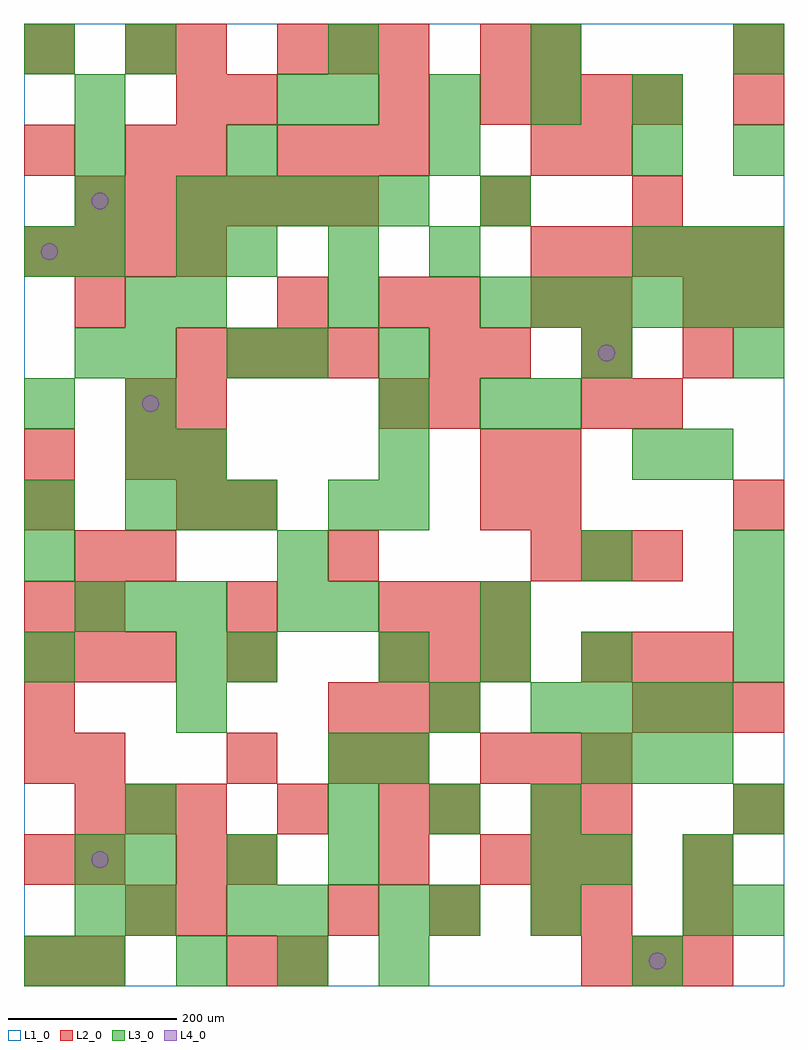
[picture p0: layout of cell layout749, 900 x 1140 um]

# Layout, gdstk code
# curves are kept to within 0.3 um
import gdstk
lib = gdstk.Library(unit=1e-6, precision=1e-09)
def R(c, l, rs):  # rectangles x0, y0, x1, y1
    for r in rs: c.add(gdstk.rectangle(r[:2], r[2:], *l))
def A(c, l, x, y, w, h, nx, ny, dx, dy):  # array of equal rectangles
    R(c, l, [(x+i*dx, y+j*dy, x+i*dx+w, y+j*dy+h) for i in range(nx) for j in range(ny)])
def P(c, l, *ps):  # polygons
    for p in ps: c.add(gdstk.Polygon(p, *l))
L1_0 = (1, 0)
L2_0 = (2, 0)
L3_0 = (3, 0)
L4_0 = (4, 0)

layout749 = lib.new_cell('layout749')
R(layout749, L1_0, [(0,0,900,1140)])
A(layout749, L2_0, 0, 0, 60, 60, 1, 3, 0, 120)
A(layout749, L2_0, 60, 0, 60, 60, 1, 3, 0, 120)
A(layout749, L2_0, 240, 0, 60, 60, 1, 4, 0, 120)
A(layout749, L2_0, 660, 0, 60, 60, 3, 2, 60, 360)
A(layout749, L2_0, 360, 60, 60, 60, 3, 1, 120, 0)
A(layout749, L2_0, 420, 120, 60, 60, 1, 3, 0, 60)
A(layout749, L2_0, 540, 120, 60, 60, 3, 2, 60, 120)
A(layout749, L2_0, 60, 180, 60, 60, 3, 1, 60, 0)
A(layout749, L2_0, 480, 180, 60, 60, 1, 3, 0, 240)
A(layout749, L2_0, 0, 300, 60, 60, 1, 3, 0, 120)
A(layout749, L2_0, 360, 300, 60, 60, 3, 1, 60, 0)
A(layout749, L2_0, 720, 300, 60, 60, 3, 1, 60, 0)
A(layout749, L2_0, 0, 360, 60, 60, 3, 1, 60, 0)
A(layout749, L2_0, 420, 360, 60, 60, 3, 1, 60, 0)
A(layout749, L2_0, 60, 420, 60, 60, 3, 1, 180, 0)
A(layout749, L2_0, 120, 480, 60, 60, 3, 1, 240, 0)
A(layout749, L2_0, 180, 540, 60, 60, 1, 3, 0, 60)
A(layout749, L2_0, 840, 540, 60, 60, 1, 3, 0, 240)
A(layout749, L2_0, 600, 600, 60, 60, 1, 3, 0, 180)
A(layout749, L2_0, 180, 720, 60, 60, 4, 1, 60, 0)
A(layout749, L2_0, 540, 720, 60, 60, 3, 1, 120, 0)
A(layout749, L2_0, 0, 840, 60, 60, 4, 1, 60, 0)
A(layout749, L2_0, 600, 840, 60, 60, 5, 1, 60, 0)
A(layout749, L2_0, 60, 900, 60, 60, 6, 1, 60, 0)
A(layout749, L2_0, 180, 960, 60, 60, 1, 3, 0, 60)
A(layout749, L2_0, 300, 960, 60, 60, 3, 2, 60, 120)
A(layout749, L2_0, 540, 1020, 60, 60, 4, 1, 60, 0)
R(layout749, L2_0, [(300,0,360,60), (120,60,180,120), (180,60,240,120), (660,60,720,120), (780,60,840,120), (180,120,240,180), (780,120,840,180), (300,180,360,240), (600,180,660,240), (660,180,720,240), (840,180,900,240), (360,240,420,300), (540,420,600,480), (60,480,120,540), (660,480,720,540), (720,480,780,540), (240,540,300,600), (540,540,600,600), (600,540,660,600), (0,600,60,660), (120,600,180,660), (540,600,600,660), (120,660,180,720), (420,660,480,720), (660,660,720,720), (720,660,780,720), (480,720,540,780), (60,780,120,840), (300,780,360,840), (420,780,480,840), (480,780,540,840), (660,780,720,840), (780,780,840,840), (540,900,600,960), (720,900,780,960), (0,960,60,1020), (120,960,180,1020), (660,960,720,1020), (240,1020,300,1080), (420,1020,480,1080), (0,1080,60,1140), (120,1080,180,1140), (540,1080,600,1140), (600,1080,660,1140), (840,1080,900,1140)])
A(layout749, L3_0, 60, 0, 60, 60, 4, 1, 120, 0)
A(layout749, L3_0, 120, 120, 60, 60, 3, 1, 120, 0)
A(layout749, L3_0, 360, 180, 60, 60, 3, 1, 120, 0)
A(layout749, L3_0, 660, 240, 60, 60, 3, 1, 60, 0)
A(layout749, L3_0, 600, 300, 60, 60, 4, 1, 60, 0)
A(layout749, L3_0, 180, 360, 60, 60, 1, 3, 0, 240)
A(layout749, L3_0, 420, 360, 60, 60, 3, 1, 120, 0)
A(layout749, L3_0, 840, 360, 60, 60, 1, 3, 0, 60)
A(layout749, L3_0, 60, 420, 60, 60, 3, 1, 60, 0)
A(layout749, L3_0, 540, 420, 60, 60, 1, 3, 0, 240)
A(layout749, L3_0, 120, 540, 60, 60, 3, 1, 60, 0)
A(layout749, L3_0, 420, 540, 60, 60, 1, 4, 0, 60)
A(layout749, L3_0, 120, 600, 60, 60, 1, 4, 0, 60)
A(layout749, L3_0, 180, 780, 60, 60, 3, 1, 180, 0)
A(layout749, L3_0, 600, 780, 60, 60, 5, 1, 60, 0)
A(layout749, L3_0, 60, 840, 60, 60, 1, 4, 0, 60)
A(layout749, L3_0, 240, 840, 60, 60, 3, 1, 120, 0)
A(layout749, L3_0, 720, 840, 60, 60, 3, 1, 60, 0)
A(layout749, L3_0, 180, 900, 60, 60, 5, 1, 60, 0)
A(layout749, L3_0, 240, 960, 60, 60, 3, 1, 240, 0)
A(layout749, L3_0, 360, 1020, 60, 60, 4, 1, 120, 0)
A(layout749, L3_0, 120, 1080, 60, 60, 4, 1, 240, 0)
R(layout749, L3_0, [(0,0,60,60), (720,0,780,60), (60,60,120,120), (120,60,180,120), (240,60,300,120), (300,60,360,120), (420,60,480,120), (480,60,540,120), (600,60,660,120), (780,60,840,120), (840,60,900,120), (60,120,120,180), (600,120,660,180), (660,120,720,180), (780,120,840,180), (120,180,180,240), (840,180,900,240), (360,240,420,300), (420,240,480,300), (180,300,240,360), (480,300,540,360), (0,360,60,420), (240,360,300,420), (300,420,360,480), (360,420,420,480), (0,480,60,540), (300,480,360,540), (660,480,720,540), (0,540,60,600), (360,540,420,600), (720,600,780,660), (780,600,840,660), (0,660,60,720), (600,660,660,720), (60,720,120,780), (240,720,300,780), (300,720,360,780), (660,720,720,780), (840,720,900,780), (0,840,60,900), (840,960,900,1020), (300,1020,360,1080), (0,1080,60,1140)])
P(layout749, L4_0, [(40,870),(39.239,873.827),(37.071,877.071),(33.827,879.239),(30,880),(26.173,879.239),(22.929,877.071),(20.761,873.827),(20,870),(20.761,866.173),(22.929,862.929),(26.173,860.761),(30,860),(33.827,860.761),(37.071,862.929),(39.239,866.173)],
  [(100,150),(99.239,153.827),(97.071,157.071),(93.827,159.239),(90,160),(86.173,159.239),(82.929,157.071),(80.761,153.827),(80,150),(80.761,146.173),(82.929,142.929),(86.173,140.761),(90,140),(93.827,140.761),(97.071,142.929),(99.239,146.173)],
  [(100,930),(99.239,933.827),(97.071,937.071),(93.827,939.239),(90,940),(86.173,939.239),(82.929,937.071),(80.761,933.827),(80,930),(80.761,926.173),(82.929,922.929),(86.173,920.761),(90,920),(93.827,920.761),(97.071,922.929),(99.239,926.173)],
  [(160,690),(159.239,693.827),(157.071,697.071),(153.827,699.239),(150,700),(146.173,699.239),(142.929,697.071),(140.761,693.827),(140,690),(140.761,686.173),(142.929,682.929),(146.173,680.761),(150,680),(153.827,680.761),(157.071,682.929),(159.239,686.173)],
  [(700,750),(699.239,753.827),(697.071,757.071),(693.827,759.239),(690,760),(686.173,759.239),(682.929,757.071),(680.761,753.827),(680,750),(680.761,746.173),(682.929,742.929),(686.173,740.761),(690,740),(693.827,740.761),(697.071,742.929),(699.239,746.173)],
  [(760,30),(759.239,33.827),(757.071,37.071),(753.827,39.239),(750,40),(746.173,39.239),(742.929,37.071),(740.761,33.827),(740,30),(740.761,26.173),(742.929,22.929),(746.173,20.761),(750,20),(753.827,20.761),(757.071,22.929),(759.239,26.173)])

lib.write_gds('layout749.gds')
